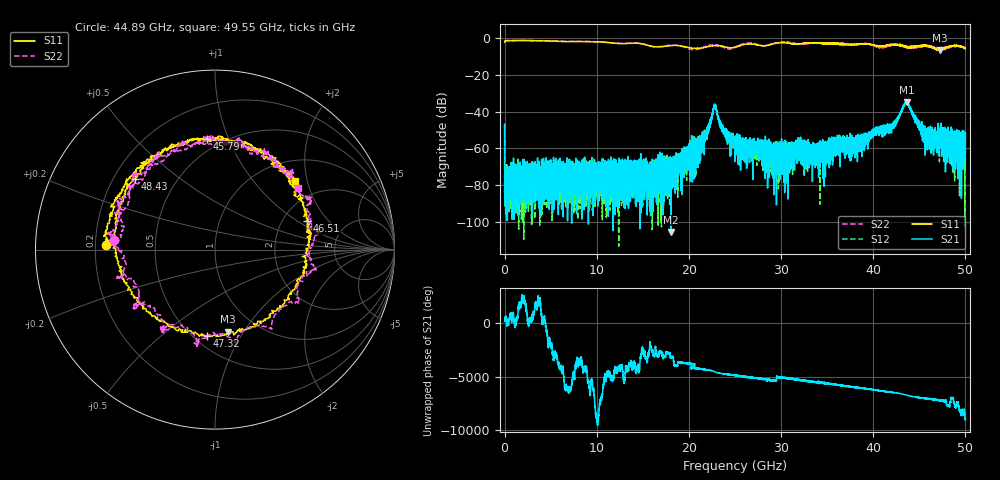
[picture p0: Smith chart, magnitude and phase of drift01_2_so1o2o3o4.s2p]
!Created with skrf (http://scikit-rf.org).
# Hz S RI R 50.0
!freq ReS11 ImS11 ReS21 ImS21 ReS12 ImS12 ReS22 ImS22
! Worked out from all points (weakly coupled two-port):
!   10001 points, 300 kHz to 50 GHz, reference 50 ohm
!   highest |S21| = -34.79 dB at 43.64 GHz (marker M1); lowest = -105.4 dB at 18.05 GHz (marker M2)
!   lowest |S11| = -6.7 dB at 47.21 GHz (marker M3), VSWR 2.72, Z = 36.7 - j42.7 ohm
!   |S11| at or under -10 dB: nowhere
!   |S22| runs from -6.8 to -1.4 dB; largest |S21 - S12| = 0.0081
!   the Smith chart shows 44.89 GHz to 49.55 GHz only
!   S11 on the Smith chart (normalised r, x): 44.89 GHz: 0.24, +0.02; 45.79 GHz: 0.42, +0.84; 46.51 GHz: 2.70, +1.20; 47.32 GHz: 0.58, -0.72; 48.43 GHz: 0.29, +0.35; 49.55 GHz: 1.45, +1.69
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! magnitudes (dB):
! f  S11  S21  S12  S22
! 300 kHz  -2.2  -46.9  -46.6  -2.1
! 255.3 MHz  -1.4  -79.4  -88.4  -1.4
! 8.335 GHz  -2.0  -71.1  -70.5  -1.8
! 16.67 GHz  -4.9  -74.2  -72.3  -4.8
! 18.05 GHz  -4.2  -105.4  -66.7  -4.0
! 20.77 GHz  -5.6  -70.3  -62.9  -6.3
! 21.81 GHz  -5.0  -52.2  -53.4  -4.7
! 22.78 GHz  -4.3  -36.8  -36.3  -4.0
! 23.8 GHz  -4.7  -50.0  -50.3  -4.9
! 25 GHz  -5.0  -56.2  -58.5  -5.1
! 29.87 GHz  -2.7  -61.1  -58.7  -2.4
! 33.34 GHz  -2.6  -62.3  -64.4  -2.6
! 41.67 GHz  -3.9  -50.7  -48.7  -4.6
! 43.64 GHz  -4.9  -34.8  -35.2  -5.2
! 44.89 GHz  -4.3  -48.2  -48.5  -4.9
! 45.79 GHz  -4.2  -49.7  -52.7  -4.5
! 46.51 GHz  -5.4  -57.5  -61.1  -5.1
! 47.21 GHz  -6.7  -56.1  -52.7  -5.8
! 47.32 GHz  -6.4  -54.0  -56.4  -6.6
! 48.43 GHz  -4.5  -57.0  -57.7  -4.7
! 49.55 GHz  -4.6  -65.0  -60.6  -4.8
! 50 GHz  -5.7  -61.5  -66.9  -5.4
